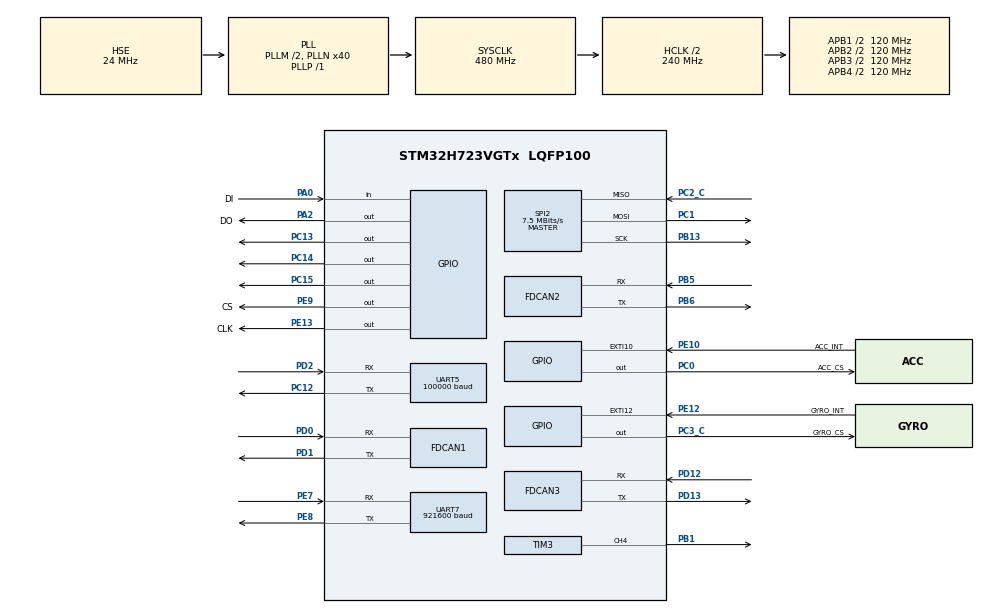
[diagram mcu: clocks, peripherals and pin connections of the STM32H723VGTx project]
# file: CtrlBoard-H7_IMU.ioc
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Dma.Request0=SPI2_RX
Dma.Request1=SPI2_TX
Dma.Request2=UART5_RX
Dma.Request3=UART7_TX
Dma.SPI2_RX.0.Direction=DMA_PERIPH_TO_MEMORY
Dma.SPI2_RX.0.EventEnable=DISABLE
Dma.SPI2_RX.0.FIFOMode=DMA_FIFOMODE_DISABLE
Dma.SPI2_RX.0.Instance=DMA1_Stream0
Dma.SPI2_RX.0.MemDataAlignment=DMA_MDATAALIGN_BYTE
Dma.SPI2_RX.0.MemInc=DMA_MINC_ENABLE
Dma.SPI2_RX.0.Mode=DMA_NORMAL
Dma.SPI2_RX.0.PeriphDataAlignment=DMA_PDATAALIGN_BYTE
Dma.SPI2_RX.0.PeriphInc=DMA_PINC_DISABLE
Dma.SPI2_RX.0.Polarity=HAL_DMAMUX_REQ_GEN_RISING
Dma.SPI2_RX.0.Priority=DMA_PRIORITY_VERY_HIGH
Dma.SPI2_RX.0.RequestNumber=1
Dma.SPI2_RX.0.SignalID=NONE
Dma.SPI2_RX.0.SyncEnable=DISABLE
Dma.SPI2_RX.0.SyncPolarity=HAL_DMAMUX_SYNC_NO_EVENT
Dma.SPI2_RX.0.SyncRequestNumber=1
Dma.SPI2_RX.0.SyncSignalID=NONE
Dma.SPI2_TX.1.Direction=DMA_MEMORY_TO_PERIPH
Dma.SPI2_TX.1.EventEnable=DISABLE
Dma.SPI2_TX.1.FIFOMode=DMA_FIFOMODE_DISABLE
Dma.SPI2_TX.1.Instance=DMA1_Stream1
Dma.SPI2_TX.1.MemDataAlignment=DMA_MDATAALIGN_BYTE
Dma.SPI2_TX.1.MemInc=DMA_MINC_ENABLE
Dma.SPI2_TX.1.Mode=DMA_NORMAL
Dma.SPI2_TX.1.PeriphDataAlignment=DMA_PDATAALIGN_BYTE
Dma.SPI2_TX.1.PeriphInc=DMA_PINC_DISABLE
Dma.SPI2_TX.1.Polarity=HAL_DMAMUX_REQ_GEN_RISING
Dma.SPI2_TX.1.Priority=DMA_PRIORITY_HIGH
Dma.SPI2_TX.1.RequestNumber=1
Dma.SPI2_TX.1.SignalID=NONE
Dma.SPI2_TX.1.SyncEnable=DISABLE
Dma.SPI2_TX.1.SyncPolarity=HAL_DMAMUX_SYNC_NO_EVENT
Dma.SPI2_TX.1.SyncRequestNumber=1
Dma.SPI2_TX.1.SyncSignalID=NONE
Dma.UART5_RX.2.Direction=DMA_PERIPH_TO_MEMORY
Dma.UART5_RX.2.EventEnable=DISABLE
Dma.UART5_RX.2.FIFOMode=DMA_FIFOMODE_DISABLE
Dma.UART5_RX.2.Instance=DMA1_Stream2
Dma.UART5_RX.2.MemDataAlignment=DMA_MDATAALIGN_BYTE
Dma.UART5_RX.2.MemInc=DMA_MINC_ENABLE
Dma.UART5_RX.2.Mode=DMA_CIRCULAR
Dma.UART5_RX.2.PeriphDataAlignment=DMA_PDATAALIGN_BYTE
Dma.UART5_RX.2.PeriphInc=DMA_PINC_DISABLE
Dma.UART5_RX.2.Polarity=HAL_DMAMUX_REQ_GEN_RISING
Dma.UART5_RX.2.Priority=DMA_PRIORITY_VERY_HIGH
Dma.UART5_RX.2.RequestNumber=1
Dma.UART5_RX.2.SignalID=NONE
Dma.UART5_RX.2.SyncEnable=DISABLE
Dma.UART5_RX.2.SyncPolarity=HAL_DMAMUX_SYNC_NO_EVENT
Dma.UART5_RX.2.SyncRequestNumber=1
Dma.UART5_RX.2.SyncSignalID=NONE
Dma.UART7_TX.3.Direction=DMA_MEMORY_TO_PERIPH
Dma.UART7_TX.3.EventEnable=DISABLE
Dma.UART7_TX.3.FIFOMode=DMA_FIFOMODE_DISABLE
Dma.UART7_TX.3.Instance=DMA1_Stream7
Dma.UART7_TX.3.MemDataAlignment=DMA_MDATAALIGN_BYTE
Dma.UART7_TX.3.MemInc=DMA_MINC_ENABLE
Dma.UART7_TX.3.Mode=DMA_NORMAL
Dma.UART7_TX.3.PeriphDataAlignment=DMA_PDATAALIGN_BYTE
Dma.UART7_TX.3.PeriphInc=DMA_PINC_DISABLE
Dma.UART7_TX.3.Polarity=HAL_DMAMUX_REQ_GEN_RISING
Dma.UART7_TX.3.Priority=DMA_PRIORITY_HIGH
Dma.UART7_TX.3.RequestNumber=1
Dma.UART7_TX.3.SignalID=NONE
Dma.UART7_TX.3.SyncEnable=DISABLE
Dma.UART7_TX.3.SyncPolarity=HAL_DMAMUX_SYNC_NO_EVENT
Dma.UART7_TX.3.SyncRequestNumber=1
Dma.UART7_TX.3.SyncSignalID=NONE
FDCAN1.CalculateBaudRateNominal=1000000
FDCAN1.CalculateTimeBitNominal=1000
FDCAN1.CalculateTimeQuantumNominal=40.0
FDCAN1.DataPrescaler=4
FDCAN1.DataTimeSeg1=19
FDCAN1.DataTimeSeg2=5
FDCAN1.ExtFiltersNbr=5
FDCAN1.NominalPrescaler=4
FDCAN1.NominalTimeSeg1=19
FDCAN1.NominalTimeSeg2=5
FDCAN1.RxFifo0ElmtSize=FDCAN_DATA_BYTES_24
FDCAN1.RxFifo0ElmtsNbr=4
FDCAN1.RxFifo1ElmtSize=FDCAN_DATA_BYTES_24
FDCAN1.StdFiltersNbr=5
FDCAN1.TxElmtSize=FDCAN_DATA_BYTES_24
FDCAN1.TxFifoQueueElmtsNbr=8
FDCAN2.CalculateBaudRateNominal=1000000
FDCAN2.CalculateTimeBitNominal=1000
FDCAN2.CalculateTimeQuantumNominal=50.0
FDCAN2.DataPrescaler=5
FDCAN2.DataTimeSeg1=14
FDCAN2.DataTimeSeg2=5
FDCAN2.ExtFiltersNbr=5
FDCAN2.MessageRAMOffset=854
FDCAN2.NominalPrescaler=5
FDCAN2.NominalTimeSeg1=14
FDCAN2.NominalTimeSeg2=5
FDCAN2.RxFifo1ElmtSize=FDCAN_DATA_BYTES_24
FDCAN2.RxFifo1ElmtsNbr=4
FDCAN2.StdFiltersNbr=5
FDCAN2.TxElmtSize=FDCAN_DATA_BYTES_16
FDCAN2.TxFifoQueueElmtsNbr=4
FDCAN3.CalculateBaudRateNominal=1000000
FDCAN3.CalculateTimeBitNominal=1000
FDCAN3.CalculateTimeQuantumNominal=50.0
FDCAN3.DataPrescaler=5
FDCAN3.DataTimeSeg1=14
FDCAN3.DataTimeSeg2=5
FDCAN3.ExtFiltersNbr=5
FDCAN3.MessageRAMOffset=1709
FDCAN3.NominalPrescaler=5
FDCAN3.NominalTimeSeg1=14
FDCAN3.NominalTimeSeg2=5
FDCAN3.RxFifo0ElmtsNbr=2
FDCAN3.StdFiltersNbr=5
FDCAN3.TxFifoQueueElmtsNbr=3
FREERTOS.MEMORY_ALLOCATION=0
FREERTOS.Tasks01=defaultTask,0,128,StartDefaultTask,Default,NULL,Dynamic,NULL,NULL;INS_TASK,3,512,INS_Task,Default,NULL,Dynamic,NULL,NULL;CHASSISR_TASK,1,512,ChassisR_Task,Default,NULL,Dynamic,NULL,NULL;CHASSISL_TASK,1,512,ChassisL_Task,Default,NULL,Dynamic,NULL,NULL;OBSERVE_TASK,2,512,OBSERVE_Task,Default,NULL,Dynamic,NULL,NULL;PS2_TASK,1,128,PS2_Task,Default,NULL,Dynamic,NULL,NULL
FREERTOS.configENABLE_FPU=1
FREERTOS.configTOTAL_HEAP_SIZE=30720
Mcu.Family=STM32H7
Mcu.Name=STM32H723VGTx
Mcu.Package=LQFP100
NVIC.DMA1_Stream0_IRQn=true\:6\:0\:true\:false\:true\:true\:false\:true\:true
NVIC.DMA1_Stream1_IRQn=true\:6\:0\:true\:false\:true\:true\:false\:true\:true
NVIC.DMA1_Stream2_IRQn=true\:5\:0\:false\:false\:true\:true\:false\:true\:true
NVIC.DMA1_Stream7_IRQn=true\:5\:0\:false\:false\:true\:false\:false\:true\:true
NVIC.FDCAN1_IT0_IRQn=true\:6\:0\:true\:false\:true\:true\:true\:true\:true
NVIC.FDCAN2_IT0_IRQn=true\:5\:0\:true\:false\:true\:true\:true\:true\:true
NVIC.FDCAN3_IT0_IRQn=true\:5\:0\:false\:false\:true\:true\:true\:true\:true
NVIC.PriorityGroup=NVIC_PRIORITYGROUP_4
NVIC.SPI2_IRQn=true\:5\:0\:true\:false\:true\:true\:false\:true\:true
NVIC.TIM2_IRQn=true\:15\:0\:false\:false\:true\:false\:false\:true\:true
NVIC.TIM3_IRQn=true\:5\:0\:false\:false\:true\:true\:true\:true\:true
NVIC.TimeBase=TIM2_IRQn
NVIC.TimeBaseIP=TIM2
NVIC.UART5_IRQn=true\:5\:0\:false\:false\:true\:true\:true\:true\:true
NVIC.UART7_IRQn=true\:5\:0\:false\:false\:true\:true\:true\:true\:true
PA0.GPIO_Label=DI
PA0.GPIO_PuPd=GPIO_PULLUP
PA0.Signal=GPIO_Input
PA13(JTMS/SWDIO).Mode=Serial_Wire
PA13(JTMS/SWDIO).Signal=DEBUG_JTMS-SWDIO
PA14(JTCK/SWCLK).Mode=Serial_Wire
PA14(JTCK/SWCLK).Signal=DEBUG_JTCK-SWCLK
PA2.GPIO_Label=DO
PA2.GPIO_PuPd=GPIO_PULLUP
PA2.GPIO_Speed=GPIO_SPEED_FREQ_VERY_HIGH
PA2.PinState=GPIO_PIN_SET
PA2.Signal=GPIO_Output
PB1.Signal=S_TIM3_CH4
PB13.GPIO_Speed=GPIO_SPEED_FREQ_VERY_HIGH
PB13.Mode=Full_Duplex_Master
PB13.Signal=SPI2_SCK
PB5.Mode=FDCAN_Activate
PB5.Signal=FDCAN2_RX
PB6.Mode=FDCAN_Activate
PB6.Signal=FDCAN2_TX
PC0.GPIO_Label=ACC_CS
PC0.GPIO_Speed=GPIO_SPEED_FREQ_VERY_HIGH
PC0.PinState=GPIO_PIN_SET
PC0.Signal=GPIO_Output
PC1.GPIO_Speed=GPIO_SPEED_FREQ_VERY_HIGH
PC1.Mode=Full_Duplex_Master
PC1.Signal=SPI2_MOSI
PC12.Mode=Asynchronous
PC12.Signal=UART5_TX
PC13.Signal=GPIO_Output
PC14-OSC32_IN.Signal=GPIO_Output
PC15-OSC32_OUT.PinState=GPIO_PIN_SET
PC15-OSC32_OUT.Signal=GPIO_Output
PC2_C.GPIO_Speed=GPIO_SPEED_FREQ_VERY_HIGH
PC2_C.Mode=Full_Duplex_Master
PC2_C.Signal=SPI2_MISO
PC3_C.GPIO_Label=GYRO_CS
PC3_C.GPIO_Speed=GPIO_SPEED_FREQ_VERY_HIGH
PC3_C.PinState=GPIO_PIN_SET
PC3_C.Signal=GPIO_Output
PD0.Mode=FDCAN_Activate
PD0.Signal=FDCAN1_RX
PD1.Mode=FDCAN_Activate
PD1.Signal=FDCAN1_TX
PD12.Mode=FDCAN_Activate
PD12.Signal=FDCAN3_RX
PD13.Mode=FDCAN_Activate
PD13.Signal=FDCAN3_TX
PD2.Mode=Asynchronous
PD2.Signal=UART5_RX
PE10.GPIO_Label=ACC_INT
PE10.Signal=GPXTI10
PE12.GPIO_Label=GYRO_INT
PE12.Signal=GPXTI12
PE13.GPIO_Label=CLK
PE13.GPIO_PuPd=GPIO_PULLUP
PE13.GPIO_Speed=GPIO_SPEED_FREQ_VERY_HIGH
PE13.PinState=GPIO_PIN_SET
PE13.Signal=GPIO_Output
PE7.Mode=Asynchronous
PE7.Signal=UART7_RX
PE8.Mode=Asynchronous
PE8.Signal=UART7_TX
PE9.GPIO_Label=CS
PE9.GPIO_PuPd=GPIO_PULLUP
PE9.GPIO_Speed=GPIO_SPEED_FREQ_VERY_HIGH
PE9.PinState=GPIO_PIN_SET
PE9.Signal=GPIO_Output
PH0-OSC_IN.Mode=HSE-External-Oscillator
PH0-OSC_IN.Signal=RCC_OSC_IN
PH1-OSC_OUT.Mode=HSE-External-Oscillator
PH1-OSC_OUT.Signal=RCC_OSC_OUT
ProjectManager.HeapSize=0x200
ProjectManager.StackSize=0x800
ProjectManager.TargetToolchain=MDK-ARM V5.27
RCC.ADCFreq_Value=100000000
RCC.APB1Freq_Value=120000000
RCC.APB2Freq_Value=120000000
RCC.APB3Freq_Value=120000000
RCC.APB4Freq_Value=120000000
RCC.CortexFreq_Value=480000000
RCC.D1PPRE=RCC_APB3_DIV2
RCC.D2PPRE1=RCC_APB1_DIV2
RCC.D2PPRE2=RCC_APB2_DIV2
RCC.D3PPRE=RCC_APB4_DIV2
RCC.DIVM1=2
RCC.DIVM2=24
RCC.DIVN1=40
RCC.DIVN2=200
RCC.DIVP1=1
RCC.FDCANCLockSelection=RCC_FDCANCLKSOURCE_PLL2
RCC.HCLKFreq_Value=240000000
RCC.HPRE=RCC_HCLK_DIV2
RCC.HSE_VALUE=24000000
RCC.PLL2FRACN=0
RCC.PLL3FRACN=0
RCC.PLLFRACN=0
RCC.PLLSourceVirtual=RCC_PLLSOURCE_HSE
RCC.SYSCLKFreq_VALUE=480000000
RCC.SYSCLKSource=RCC_SYSCLKSOURCE_PLLCLK
RCC.USBFreq_Value=240000000
SH.S_TIM3_CH4.0=TIM3_CH4,PWM Generation4 CH4
SPI2.BaudRatePrescaler=SPI_BAUDRATEPRESCALER_32
SPI2.CLKPhase=SPI_PHASE_2EDGE
SPI2.CLKPolarity=SPI_POLARITY_HIGH
SPI2.CalculateBaudRate=7.5 MBits/s
SPI2.DataSize=SPI_DATASIZE_8BIT
SPI2.Direction=SPI_DIRECTION_2LINES
SPI2.Mode=SPI_MODE_MASTER
SPI2.VirtualType=VM_MASTER
TIM3.AutoReloadPreload=TIM_AUTORELOAD_PRELOAD_ENABLE
TIM3.Channel-PWM\ Generation4\ CH4=TIM_CHANNEL_4
TIM3.Period=10000-1
TIM3.Prescaler=23-1
UART5.BaudRate=100000
UART5.Mode=MODE_RX
UART5.Parity=PARITY_EVEN
UART5.StopBits=UART_STOPBITS_2
UART5.WordLength=WORDLENGTH_9B
UART7.BaudRate=921600
VP_FREERTOS_VS_CMSIS_V1.Mode=CMSIS_V1
VP_SYS_VS_tim2.Mode=TIM2
VP_TIM3_VS_ClockSourceINT.Mode=Internal
board=custom

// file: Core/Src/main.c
/* USER CODE BEGIN Header */
/**
  ******************************************************************************
  * @file           : main.c
  * @brief          : Main program body
  ******************************************************************************
  * @attention
  *
  * Copyright (c) 2024 STMicroelectronics.
  * All rights reserved.
  *
  * This software is licensed under terms that can be found in the LICENSE file
  * in the root directory of this software component.
  * If no LICENSE file comes with this software, it is provided AS-IS.
  *
  ******************************************************************************
  */
/* USER CODE END Header */
#include "main.h"
#include "cmsis_os.h"
#include "dma.h"
#include "fdcan.h"
#include "spi.h"
#include "tim.h"
#include "usart.h"
#include "gpio.h"

/* USER CODE BEGIN Includes */
#include "BMI088driver.h"
#include "kalman_filter.h"
#include "mahony_filter.h"
#include "bsp_dwt.h"
#include "BMI088Middleware.h"
#include "can_bsp.h"
#include "bsp_uart.h"
#include "bsp_time.h"
#include "dm4310_drv.h"
/* USER CODE END Includes */

void SystemClock_Config(void);
void PeriphCommonClock_Config(void);
void MX_FREERTOS_Init(void);

int main(void)
{

  /* MCU Configuration--------------------------------------------------------*/

  /* Reset of all peripherals, Initializes the Flash interface and the Systick. */
  HAL_Init();

  /* USER CODE BEGIN Init */
//06 01 00 00 00 00 00 00 00 00 00 00 00 00 80 3F
  /* USER CODE END Init */

  /* Configure the system clock */
  SystemClock_Config();

/* Configure the peripherals common clocks */
  PeriphCommonClock_Config();

  /* Initialize all configured peripherals */
  MX_GPIO_Init();
  MX_DMA_Init();
  MX_SPI2_Init();
  MX_FDCAN1_Init();
  MX_FDCAN2_Init();
  MX_TIM3_Init();
  MX_FDCAN3_Init();
  MX_UART5_Init();
  MX_UART7_Init();
  /* USER CODE BEGIN 2 */
	DWT_Init(480);
	HAL_TIM_Base_Start_IT(&htim3);

	/*���ڳ�ʼ��*/
	BSP_USART_Init();
    /* BMI088��ʼ�� */
//	while (BMI088_init(&hspi2, 0) != BMI088_NO_ERROR)
//	{
//	  ;
//	}
	Power_OUT1_ON;//imu��ʼ����ɣ��ɿص�Դ�򿪣�led����
	Power_OUT2_ON;

	FDCAN1_Config();//can��������ʼ��
	FDCAN2_Config();
	enable_motor_mode(&hfdcan2,0x04,MIT_MODE);
	HAL_Delay(10);
  /* USER CODE END 2 */

  /* Call init function for freertos objects (in freertos.c) */
  MX_FREERTOS_Init();

  /* Start scheduler */
  osKernelStart();

  /* We should never get here as control is now taken by the scheduler */
  /* Infinite loop */
  while (1)
  {

  }
}

void SystemClock_Config(void)
{
  RCC_OscInitTypeDef RCC_OscInitStruct = {0};
  RCC_ClkInitTypeDef RCC_ClkInitStruct = {0};

  /** Supply configuration update enable
  */
  HAL_PWREx_ConfigSupply(PWR_LDO_SUPPLY);

  /** Configure the main internal regulator output voltage
  */
  __HAL_PWR_VOLTAGESCALING_CONFIG(PWR_REGULATOR_VOLTAGE_SCALE0);

  while(!__HAL_PWR_GET_FLAG(PWR_FLAG_VOSRDY)) {}

  /** Initializes the RCC Oscillators according to the specified parameters
  * in the RCC_OscInitTypeDef structure.
  */
  RCC_OscInitStruct.OscillatorType = RCC_OSCILLATORTYPE_HSE;
  RCC_OscInitStruct.HSEState = RCC_HSE_ON;
  RCC_OscInitStruct.PLL.PLLState = RCC_PLL_ON;
  RCC_OscInitStruct.PLL.PLLSource = RCC_PLLSOURCE_HSE;
  RCC_OscInitStruct.PLL.PLLM = 2;
  RCC_OscInitStruct.PLL.PLLN = 40;
  RCC_OscInitStruct.PLL.PLLP = 1;
  RCC_OscInitStruct.PLL.PLLQ = 2;
  RCC_OscInitStruct.PLL.PLLR = 2;
  RCC_OscInitStruct.PLL.PLLRGE = RCC_PLL1VCIRANGE_3;
  RCC_OscInitStruct.PLL.PLLVCOSEL = RCC_PLL1VCOWIDE;
  RCC_OscInitStruct.PLL.PLLFRACN = 0;
  if (HAL_RCC_OscConfig(&RCC_OscInitStruct) != HAL_OK)
  {
    Error_Handler();
  }

  /** Initializes the CPU, AHB and APB buses clocks
  */
  RCC_ClkInitStruct.ClockType = RCC_CLOCKTYPE_HCLK|RCC_CLOCKTYPE_SYSCLK
                              |RCC_CLOCKTYPE_PCLK1|RCC_CLOCKTYPE_PCLK2
                              |RCC_CLOCKTYPE_D3PCLK1|RCC_CLOCKTYPE_D1PCLK1;
  RCC_ClkInitStruct.SYSCLKSource = RCC_SYSCLKSOURCE_PLLCLK;
  RCC_ClkInitStruct.SYSCLKDivider = RCC_SYSCLK_DIV1;
  RCC_ClkInitStruct.AHBCLKDivider = RCC_HCLK_DIV2;
  RCC_ClkInitStruct.APB3CLKDivider = RCC_APB3_DIV2;
  RCC_ClkInitStruct.APB1CLKDivider = RCC_APB1_DIV2;
  RCC_ClkInitStruct.APB2CLKDivider = RCC_APB2_DIV2;
  RCC_ClkInitStruct.APB4CLKDivider = RCC_APB4_DIV2;

  if (HAL_RCC_ClockConfig(&RCC_ClkInitStruct, FLASH_LATENCY_3) != HAL_OK)
  {
    Error_Handler();
  }
}

void PeriphCommonClock_Config(void)
{
  RCC_PeriphCLKInitTypeDef PeriphClkInitStruct = {0};

  /** Initializes the peripherals clock
  */
  PeriphClkInitStruct.PeriphClockSelection = RCC_PERIPHCLK_FDCAN;
  PeriphClkInitStruct.PLL2.PLL2M = 24;
  PeriphClkInitStruct.PLL2.PLL2N = 200;
  PeriphClkInitStruct.PLL2.PLL2P = 2;
  PeriphClkInitStruct.PLL2.PLL2Q = 2;
  PeriphClkInitStruct.PLL2.PLL2R = 2;
  PeriphClkInitStruct.PLL2.PLL2RGE = RCC_PLL2VCIRANGE_0;
  PeriphClkInitStruct.PLL2.PLL2VCOSEL = RCC_PLL2VCOMEDIUM;
  PeriphClkInitStruct.PLL2.PLL2FRACN = 0;
  PeriphClkInitStruct.FdcanClockSelection = RCC_FDCANCLKSOURCE_PLL2;
  if (HAL_RCCEx_PeriphCLKConfig(&PeriphClkInitStruct) != HAL_OK)
  {
    Error_Handler();
  }
}

void HAL_TIM_PeriodElapsedCallback(TIM_HandleTypeDef *htim)
{
  /* USER CODE BEGIN Callback 0 */
	uint8_t flag = 0;
  /* USER CODE END Callback 0 */
  if (htim->Instance == TIM2) {
    HAL_IncTick();
  }
  /* USER CODE BEGIN Callback 1 */
  if(htim == &htim3)
  {

  }

  /* USER CODE END Callback 1 */
}

void Error_Handler(void)
{
  __disable_irq();
  while (1)
  {
  }
}

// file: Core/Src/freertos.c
/* USER CODE BEGIN Header */
/**
  ******************************************************************************
  * File Name          : freertos.c
  * Description        : Code for freertos applications
  ******************************************************************************
  * @attention
  *
  * Copyright (c) 2024 STMicroelectronics.
  * All rights reserved.
  *
  * This software is licensed under terms that can be found in the LICENSE file
  * in the root directory of this software component.
  * If no LICENSE file comes with this software, it is provided AS-IS.
  *
  ******************************************************************************
  */
/* USER CODE END Header */

#include "FreeRTOS.h"
#include "task.h"
#include "main.h"
#include "cmsis_os.h"

/* USER CODE BEGIN Includes */
#include "INS_task.h"
#include "chassisR_task.h"
#include "chassisL_task.h"
#include "observe_task.h"
#include "ps2_task.h"
#include "remote_task.h"
/* USER CODE END Includes */

osThreadId defaultTaskHandle;
osThreadId INS_TASKHandle;
osThreadId CHASSISR_TASKHandle;
osThreadId CHASSISL_TASKHandle;
osThreadId OBSERVE_TASKHandle;
osThreadId PS2_TASKHandle;

void StartDefaultTask(void const * argument);
void INS_Task(void const * argument);
void ChassisR_Task(void const * argument);
void ChassisL_Task(void const * argument);
void OBSERVE_Task(void const * argument);
void PS2_Task(void const * argument);

void MX_FREERTOS_Init(void); /* (MISRA C 2004 rule 8.1) */

void MX_FREERTOS_Init(void) {

  /* Create the thread(s) */
  /* definition and creation of defaultTask */
  osThreadDef(defaultTask, StartDefaultTask, osPriorityNormal, 0, 128);
  defaultTaskHandle = osThreadCreate(osThread(defaultTask), NULL);

  /* definition and creation of INS_TASK */
  osThreadDef(INS_TASK, INS_Task, osPriorityRealtime, 0, 512);
  INS_TASKHandle = osThreadCreate(osThread(INS_TASK), NULL);

  /* definition and creation of CHASSISR_TASK */
  osThreadDef(CHASSISR_TASK, ChassisR_Task, osPriorityAboveNormal, 0, 512);
  CHASSISR_TASKHandle = osThreadCreate(osThread(CHASSISR_TASK), NULL);

  /* definition and creation of CHASSISL_TASK */
  osThreadDef(CHASSISL_TASK, ChassisL_Task, osPriorityAboveNormal, 0, 512);
  CHASSISL_TASKHandle = osThreadCreate(osThread(CHASSISL_TASK), NULL);

  /* definition and creation of OBSERVE_TASK */
  osThreadDef(OBSERVE_TASK, OBSERVE_Task, osPriorityHigh, 0, 512);
  OBSERVE_TASKHandle = osThreadCreate(osThread(OBSERVE_TASK), NULL);

  /* definition and creation of PS2_TASK */
  osThreadDef(PS2_TASK, PS2_Task, osPriorityAboveNormal, 0, 128);
  PS2_TASKHandle = osThreadCreate(osThread(PS2_TASK), NULL);

}

void StartDefaultTask(void const * argument)
{
  for(;;)
  {
    osDelay(1);
  }
}

void INS_Task(void const * argument)
{
  /* USER CODE BEGIN INS_Task */

  /* Infinite loop */
  for(;;)
  {
    INS_task();
  }
  /* USER CODE END INS_Task */
}

void ChassisR_Task(void const * argument)
{
  /* USER CODE BEGIN ChassisR_Task */
  /* Infinite loop */
  for(;;)
  {
    ChassisR_task();
  }
  /* USER CODE END ChassisR_Task */
}

void ChassisL_Task(void const * argument)
{
  /* USER CODE BEGIN ChassisL_Task */
  /* Infinite loop */
  for(;;)
  {
    ChassisL_task();
  }
  /* USER CODE END ChassisL_Task */
}

void OBSERVE_Task(void const * argument)
{
  /* USER CODE BEGIN OBSERVE_Task */
  /* Infinite loop */
  for(;;)
  {
    Observe_task();

  }
  /* USER CODE END OBSERVE_Task */
}

void PS2_Task(void const * argument)
{
  /* USER CODE BEGIN PS2_Task */
  /* Infinite loop */
  for(;;)
  {
    //pstwo_task();
		Remote_task();
  }
  /* USER CODE END PS2_Task */
}
